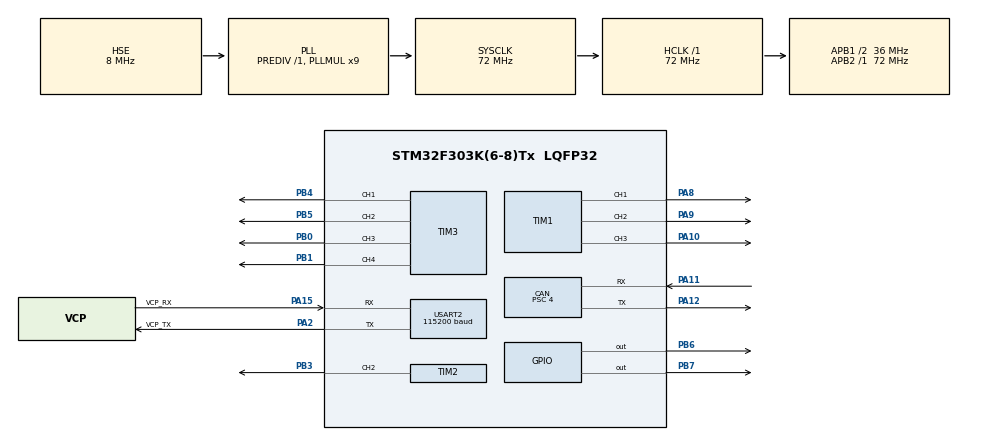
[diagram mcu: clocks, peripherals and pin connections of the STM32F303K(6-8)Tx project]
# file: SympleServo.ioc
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CAN.ABOM=ENABLE
CAN.BS1=CAN_BS1_7TQ
CAN.CalculateTimeQuantum=111.11111111111111
CAN.Prescaler=4
CAN.SJW=CAN_SJW_2TQ
CAN.TXFP=ENABLE
Mcu.Family=STM32F3
Mcu.Name=STM32F303K(6-8)Tx
Mcu.Package=LQFP32
NVIC.CAN_RX0_IRQn=true\:0\:0\:false\:false\:true\:true\:true
NVIC.CAN_RX1_IRQn=true\:0\:0\:false\:false\:true\:true\:true
NVIC.CAN_SCE_IRQn=true\:0\:0\:false\:false\:true\:true\:true
NVIC.PriorityGroup=NVIC_PRIORITYGROUP_4
PA10.Signal=S_TIM1_CH3
PA11.Mode=Master
PA11.Signal=CAN_RX
PA12.Mode=Master
PA12.Signal=CAN_TX
PA13.GPIO_Label=SWDIO
PA13.Mode=Serial_Wire
PA13.Signal=SYS_JTMS-SWDIO
PA14.GPIO_Label=SWCLK
PA14.Mode=Serial_Wire
PA14.Signal=SYS_JTCK-SWCLK
PA15.GPIO_Label=VCP_RX
PA15.Mode=Asynchronous
PA15.Signal=USART2_RX
PA2.GPIO_Label=VCP_TX
PA2.Mode=Asynchronous
PA2.Signal=USART2_TX
PA8.Signal=S_TIM1_CH1
PA9.Signal=S_TIM1_CH2
PB0.Signal=S_TIM3_CH3
PB1.Signal=S_TIM3_CH4
PB3.Signal=S_TIM2_CH2
PB4.Signal=S_TIM3_CH1
PB5.Signal=S_TIM3_CH2
PB6.Signal=GPIO_Output
PB7.Signal=GPIO_Output
PF0\ /\ OSC_IN.Mode=HSE-External-Oscillator
PF0\ /\ OSC_IN.Signal=RCC_OSC_IN
PF1\ /\ OSC_OUT.Mode=HSE-External-Oscillator
PF1\ /\ OSC_OUT.Signal=RCC_OSC_OUT
ProjectManager.HeapSize=0x200
ProjectManager.StackSize=0x400
ProjectManager.TargetToolchain=TrueSTUDIO
RCC.AHBFreq_Value=72000000
RCC.APB1CLKDivider=RCC_HCLK_DIV2
RCC.APB1Freq_Value=36000000
RCC.APB1TimFreq_Value=72000000
RCC.APB2Freq_Value=72000000
RCC.APB2TimFreq_Value=72000000
RCC.CortexFreq_Value=72000000
RCC.HCLKFreq_Value=72000000
RCC.HSE_VALUE=8000000
RCC.HSI_VALUE=8000000
RCC.PLLMUL=RCC_PLL_MUL9
RCC.PLLSourceVirtual=RCC_PLLSOURCE_HSE
RCC.SYSCLKFreq_VALUE=72000000
RCC.SYSCLKSourceVirtual=RCC_SYSCLKSOURCE_PLLCLK
SH.S_TIM1_CH1.0=TIM1_CH1,PWM Generation1 CH1
SH.S_TIM1_CH2.0=TIM1_CH2,PWM Generation2 CH2
SH.S_TIM1_CH3.0=TIM1_CH3,PWM Generation3 CH3
SH.S_TIM2_CH2.0=TIM2_CH2,PWM Generation2 CH2
SH.S_TIM3_CH1.0=TIM3_CH1,PWM Generation1 CH1
SH.S_TIM3_CH2.0=TIM3_CH2,PWM Generation2 CH2
SH.S_TIM3_CH3.0=TIM3_CH3,PWM Generation3 CH3
SH.S_TIM3_CH4.0=TIM3_CH4,PWM Generation4 CH4
TIM1.Channel-PWM\ Generation1\ CH1=TIM_CHANNEL_1
TIM1.Channel-PWM\ Generation2\ CH2=TIM_CHANNEL_2
TIM1.Channel-PWM\ Generation3\ CH3=TIM_CHANNEL_3
TIM2.Channel-PWM\ Generation2\ CH2=TIM_CHANNEL_2
TIM3.Channel-PWM\ Generation1\ CH1=TIM_CHANNEL_1
TIM3.Channel-PWM\ Generation2\ CH2=TIM_CHANNEL_2
TIM3.Channel-PWM\ Generation3\ CH3=TIM_CHANNEL_3
TIM3.Channel-PWM\ Generation4\ CH4=TIM_CHANNEL_4
USART2.BaudRate=115200
USART2.VirtualMode-Asynchronous=VM_ASYNC
board=NUCLEO-F303K8

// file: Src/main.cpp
/* USER CODE BEGIN Header */
/**
  ******************************************************************************
  * @file           : main.c
  * @brief          : Main program body
  ******************************************************************************
  * @attention
  *
  * <h2><center>&copy; Copyright (c) 2019 STMicroelectronics.
  * All rights reserved.</center></h2>
  *
  * This software component is licensed by ST under BSD 3-Clause license,
  * the "License"; You may not use this file except in compliance with the
  * License. You may obtain a copy of the License at:
  *                        opensource.org/licenses/BSD-3-Clause
  *
  ******************************************************************************
  */
/* USER CODE END Header */

#include "main.h"
#include "can.h"
#include "tim.h"
#include "usart.h"
#include "gpio.h"

/* USER CODE BEGIN Includes */

#include "LowlayerHandel.hpp"
#include "Application/Application.hpp"
/* USER CODE END Includes */

/* USER CODE BEGIN PTD */
extern void FilterConfig();
extern unsigned char RxFIFO_Data[4];
extern CAN_RxHeaderTypeDef RXmsg;
/* USER CODE END PTD */

/* USER CODE BEGIN PD */
#define RUN
//#define DEBUG
/* USER CODE END PD */

void SystemClock_Config(void);

int main(void)
{
  /* USER CODE BEGIN 1 */
	setbuf(stdout, NULL);
  /* USER CODE END 1 */

  /* MCU Configuration--------------------------------------------------------*/

  /* Reset of all peripherals, Initializes the Flash interface and the Systick. */
  HAL_Init();

  /* Configure the system clock */
  SystemClock_Config();

  /* Initialize all configured peripherals */
  MX_GPIO_Init();
  MX_CAN_Init();
  MX_TIM1_Init();
  MX_TIM2_Init();
  MX_TIM3_Init();
  MX_USART2_UART_Init();
  /* USER CODE BEGIN 2 */
/*****初期化順番変更すべからず************/
  LowlayerHandelTypedef hlow;
//  hlow.S1.SetFrequency(50);
//  hlow.S2.SetFrequency(50);
//  hlow.S3.SetFrequency(50);
//  hlow.S4.SetFrequency(50);
//  hlow.S5.SetFrequency(50);
//  hlow.S6.SetFrequency(50);
//  hlow.S7.SetFrequency(50);
//  hlow.S8.SetFrequency(50);
  hlow.S1.Begin();
  hlow.S2.Begin();
  hlow.S3.Begin();
  hlow.S4.Begin();
  hlow.S5.Begin();
  hlow.S6.Begin();
  hlow.S7.Begin();
  hlow.S8.Begin();
  FilterConfig();
  App app(&hlow);
  /* USER CODE END 2 */

  /* Infinite loop */
  while (1)
  {

    /* USER CODE BEGIN 3 */
	  //hlow.LEDCheck();
#ifdef RUN
	   app.TaskShift();
#endif

#ifdef DEBUG
//	   for(int i=1;i<8;i++)
//	  	 {

		   hlow.DebugServo(1,3);
		   HAL_Delay(500);
		   hlow.DebugServo(1,5);
		   HAL_Delay(500);
		   hlow.DebugServo(1,9);
		   HAL_Delay(500);
//	  	 }

#endif
//printf("Get data from ID:%x\n",RXmsg.StdId);
//printf("%x %x %x %x\n\r",RxFIFO_Data[0],RxFIFO_Data[1],RxFIFO_Data[2],RxFIFO_Data[0]);
  }
  /* USER CODE END 3 */
}

void SystemClock_Config(void)
{
  RCC_OscInitTypeDef RCC_OscInitStruct = {0};
  RCC_ClkInitTypeDef RCC_ClkInitStruct = {0};
  RCC_PeriphCLKInitTypeDef PeriphClkInit = {0};

  /** Initializes the CPU, AHB and APB busses clocks
  */
  RCC_OscInitStruct.OscillatorType = RCC_OSCILLATORTYPE_HSE;
  RCC_OscInitStruct.HSEState = RCC_HSE_ON;
  RCC_OscInitStruct.HSEPredivValue = RCC_HSE_PREDIV_DIV1;
  RCC_OscInitStruct.HSIState = RCC_HSI_ON;
  RCC_OscInitStruct.PLL.PLLState = RCC_PLL_ON;
  RCC_OscInitStruct.PLL.PLLSource = RCC_PLLSOURCE_HSE;
  RCC_OscInitStruct.PLL.PLLMUL = RCC_PLL_MUL9;
  if (HAL_RCC_OscConfig(&RCC_OscInitStruct) != HAL_OK)
  {
    Error_Handler();
  }
  /** Initializes the CPU, AHB and APB busses clocks
  */
  RCC_ClkInitStruct.ClockType = RCC_CLOCKTYPE_HCLK|RCC_CLOCKTYPE_SYSCLK
                              |RCC_CLOCKTYPE_PCLK1|RCC_CLOCKTYPE_PCLK2;
  RCC_ClkInitStruct.SYSCLKSource = RCC_SYSCLKSOURCE_PLLCLK;
  RCC_ClkInitStruct.AHBCLKDivider = RCC_SYSCLK_DIV1;
  RCC_ClkInitStruct.APB1CLKDivider = RCC_HCLK_DIV2;
  RCC_ClkInitStruct.APB2CLKDivider = RCC_HCLK_DIV1;

  if (HAL_RCC_ClockConfig(&RCC_ClkInitStruct, FLASH_LATENCY_2) != HAL_OK)
  {
    Error_Handler();
  }
  PeriphClkInit.PeriphClockSelection = RCC_PERIPHCLK_TIM1;
  PeriphClkInit.Tim1ClockSelection = RCC_TIM1CLK_HCLK;
  if (HAL_RCCEx_PeriphCLKConfig(&PeriphClkInit) != HAL_OK)
  {
    Error_Handler();
  }
}

void Error_Handler(void)
{
  /* USER CODE BEGIN Error_Handler_Debug */
  /* User can add his own implementation to report the HAL error return state */
	 HAL_GPIO_WritePin(GPIOB,GPIO_PIN_7,GPIO_PIN_SET);
  /* USER CODE END Error_Handler_Debug */
}

/************************ (C) COPYRIGHT STMicroelectronics *****END OF FILE****/
